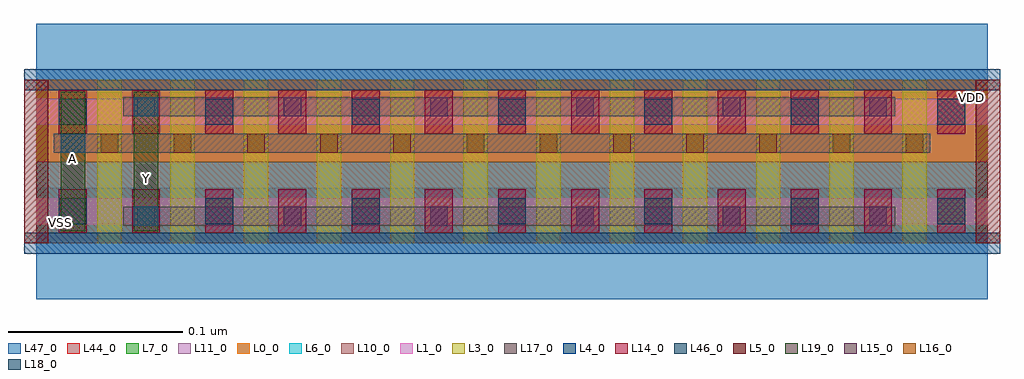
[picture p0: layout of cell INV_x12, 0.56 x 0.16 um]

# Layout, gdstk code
import gdstk
lib = gdstk.Library(unit=1e-6, precision=5e-10)
def R(c, l, rs):  # rectangles x0, y0, x1, y1
    for r in rs: c.add(gdstk.rectangle(r[:2], r[2:], *l))
def A(c, l, x, y, w, h, nx, ny, dx, dy):  # array of equal rectangles
    R(c, l, [(x+i*dx, y+j*dy, x+i*dx+w, y+j*dy+h) for i in range(nx) for j in range(ny)])
L0_0 = (0, 0)
L1_0 = (1, 0)
L3_0 = (3, 0)
L4_0 = (4, 0)
L5_0 = (5, 0)
L6_0 = (6, 0)
L7_0 = (7, 0)
L10_0 = (10, 0)
L11_0 = (11, 0)
L14_0 = (14, 0)
L15_0 = (15, 0)
L16_0 = (16, 0)
L17_0 = (17, 0)
L18_0 = (18, 0)
L19_0 = (19, 0)
L44_0 = (44, 0)
L46_0 = (46, 0)
L47_0 = (47, 0)

inv_x12 = lib.new_cell('INV_x12')
R(inv_x12, L0_0, [(0,0.047,0.546,0.094)])
R(inv_x12, L1_0, [(0,0.011,0.546,0.026), (0,0.068,0.546,0.083)])
A(inv_x12, L3_0, 0.035, 0, 0.014, 0.094, 12, 1, 0.042, 0)
R(inv_x12, L4_0, [(-0.007,-0.006,0.553,0.006), (-0.007,0.088,0.553,0.1)])
R(inv_x12, L5_0, [(-0.007,0,0.007,0.094), (0.539,0,0.553,0.094)])
R(inv_x12, L6_0, [(0,0,0.546,0.047)])
R(inv_x12, L7_0, [(0,0.047,0.546,0.094)])
R(inv_x12, L10_0, [(0,0,0.546,0.047)])
R(inv_x12, L11_0, [(0,0.047,0.546,0.094)])
A(inv_x12, L14_0, 0.013, 0.006, 0.016, 0.025, 13, 2, 0.042, 0.057)
A(inv_x12, L15_0, 0.058, 0.01, 0.01, 0.011, 6, 2, 0.084, 0.063)
A(inv_x12, L16_0, 0.037, 0.052, 0.01, 0.011, 12, 1, 0.042, 0)
R(inv_x12, L17_0, [(0.05,0.01,0.493,0.021), (0.01,0.052,0.513,0.063), (0.05,0.073,0.493,0.084)])
R(inv_x12, L18_0, [(0.056,0.01,0.07,0.021), (0.014,0.052,0.028,0.063), (0.056,0.073,0.07,0.084)])
R(inv_x12, L19_0, [(0.014,0.007,0.028,0.087), (0.056,0.007,0.07,0.087)])
R(inv_x12, L44_0, [(0,0,0.546,0.094)])
A(inv_x12, L46_0, 0.013, 0.011, 0.016, 0.015, 7, 2, 0.084, 0.057)
R(inv_x12, L47_0, [(0,-0.032,0.546,0.032), (0,0.062,0.546,0.126)])
inv_x12.add(gdstk.Label('VSS', (0.014,0.012), layer=47, texttype=2))
inv_x12.add(gdstk.Label('VDD', (0.5365,0.084), layer=47, texttype=2))
inv_x12.add(gdstk.Label('VDD', (0.539,0.091), layer=0, texttype=2))
inv_x12.add(gdstk.Label('Y', (0.063,0.037), layer=19, texttype=2))
inv_x12.add(gdstk.Label('A', (0.021,0.049), layer=19, texttype=2))
inv_x12.add(gdstk.Label('VSS', (0.011,0.008), layer=54, texttype=2))

lib.write_gds('INV_x12.gds')
